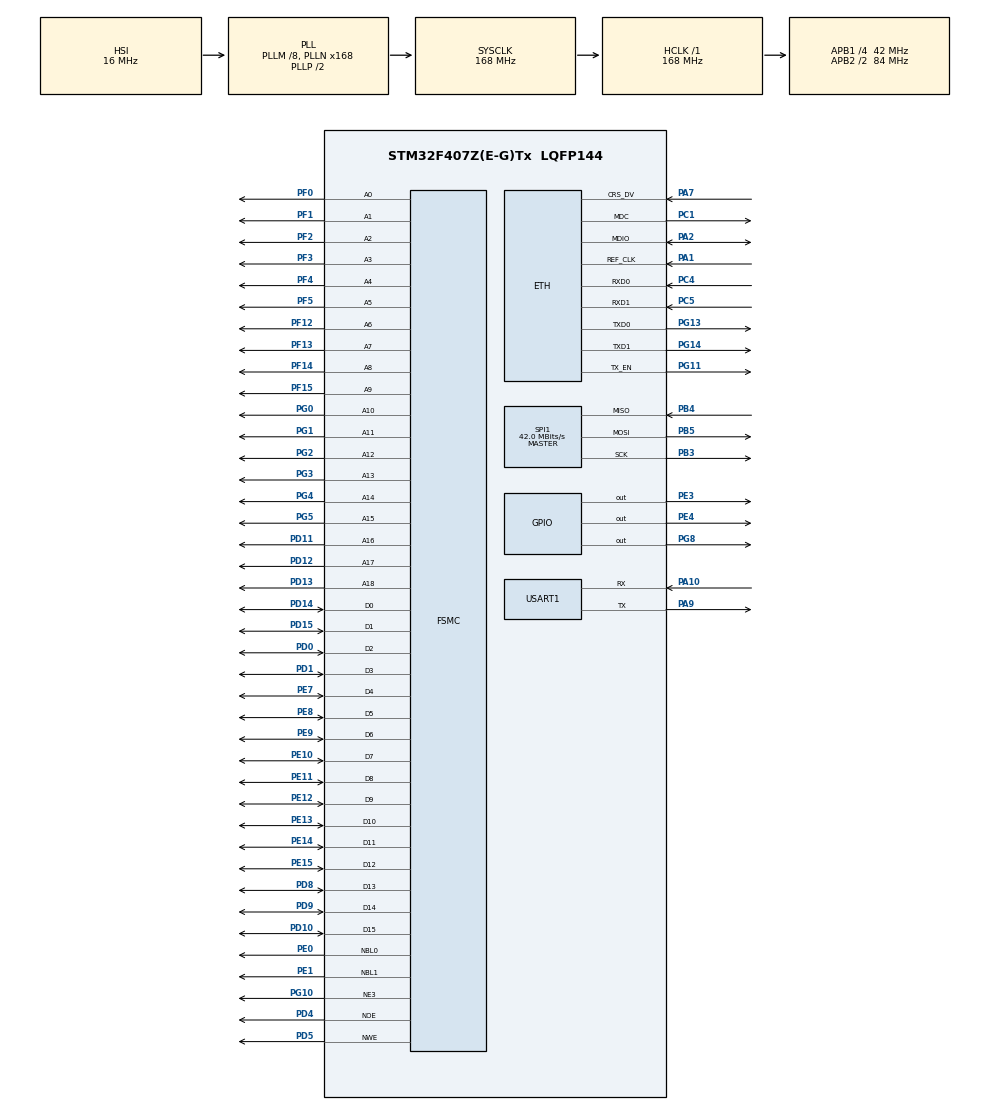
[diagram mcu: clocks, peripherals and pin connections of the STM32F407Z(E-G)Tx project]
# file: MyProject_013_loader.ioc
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ETH.AutoNegotiation=ETH_AUTONEGOTIATION_DISABLE
ETH.MediaInterface=ETH_MEDIA_INTERFACE_RMII
ETH.PHY_Name_RMII=DP83848_PHY_ADDRESS
ETH.RxMode=ETH_RXINTERRUPT_MODE
ETH.Speed=ETH_SPEED_10M
FREERTOS.INCLUDE_eTaskGetState=1
FREERTOS.Tasks01=defaultTask,0,1024,StartDefaultTask,Default,NULL,Dynamic,NULL,NULL;myTask02,-3,1024,StartTask02,Default,NULL,Dynamic,NULL,NULL;myTask03,-3,1024,StartTask03,Default,NULL,Dynamic,NULL,NULL
FREERTOS.configCHECK_FOR_STACK_OVERFLOW=2
FREERTOS.configTOTAL_HEAP_SIZE=51200
FREERTOS.configUSE_STATS_FORMATTING_FUNCTIONS=1
FREERTOS.configUSE_TRACE_FACILITY=1
FSMC.WriteOperation1=FSMC_WRITE_OPERATION_ENABLE
LWIP.Version=v2.1.2_Cube
Mcu.Family=STM32F4
Mcu.Name=STM32F407Z(E-G)Tx
Mcu.Package=LQFP144
NVIC.ETH_IRQn=true\:5\:0\:false\:false\:true\:true\:true\:true
NVIC.PriorityGroup=NVIC_PRIORITYGROUP_4
NVIC.SPI1_IRQn=true\:5\:0\:false\:false\:true\:true\:true\:true
NVIC.TIM1_BRK_TIM9_IRQn=true\:5\:0\:false\:false\:true\:true\:true\:true
NVIC.TIM1_UP_TIM10_IRQn=true\:15\:0\:false\:false\:true\:false\:false\:true
NVIC.TIM3_IRQn=true\:5\:0\:false\:false\:true\:true\:true\:true
NVIC.TimeBase=TIM1_UP_TIM10_IRQn
NVIC.TimeBaseIP=TIM1
NVIC.USART1_IRQn=true\:5\:0\:false\:false\:true\:true\:true\:true
PA1.Mode=RMII
PA1.Signal=ETH_REF_CLK
PA10.Mode=Asynchronous
PA10.Signal=USART1_RX
PA13.Mode=Serial_Wire
PA13.Signal=SYS_JTMS-SWDIO
PA14.Mode=Serial_Wire
PA14.Signal=SYS_JTCK-SWCLK
PA2.Mode=RMII
PA2.Signal=ETH_MDIO
PA7.Mode=RMII
PA7.Signal=ETH_CRS_DV
PA9.Mode=Asynchronous
PA9.Signal=USART1_TX
PB3.Mode=Full_Duplex_Master
PB3.Signal=SPI1_SCK
PB4.Mode=Full_Duplex_Master
PB4.Signal=SPI1_MISO
PB5.Mode=Full_Duplex_Master
PB5.Signal=SPI1_MOSI
PC1.Mode=RMII
PC1.Signal=ETH_MDC
PC4.Mode=RMII
PC4.Signal=ETH_RXD0
PC5.Mode=RMII
PC5.Signal=ETH_RXD1
PD0.Signal=FSMC_D2_DA2
PD1.Signal=FSMC_D3_DA3
PD10.Signal=FSMC_D15_DA15
PD11.Signal=FSMC_A16_CLE
PD12.Signal=FSMC_A17_ALE
PD13.Signal=FSMC_A18
PD14.Signal=FSMC_D0_DA0
PD15.Signal=FSMC_D1_DA1
PD4.Signal=FSMC_NOE
PD5.Signal=FSMC_NWE
PD8.Signal=FSMC_D13_DA13
PD9.Signal=FSMC_D14_DA14
PE0.Signal=FSMC_NBL0
PE1.Signal=FSMC_NBL1
PE10.Signal=FSMC_D7_DA7
PE11.Signal=FSMC_D8_DA8
PE12.Signal=FSMC_D9_DA9
PE13.Signal=FSMC_D10_DA10
PE14.Signal=FSMC_D11_DA11
PE15.Signal=FSMC_D12_DA12
PE3.Signal=GPIO_Output
PE4.Signal=GPIO_Output
PE7.Signal=FSMC_D4_DA4
PE8.Signal=FSMC_D5_DA5
PE9.Signal=FSMC_D6_DA6
PF0.Signal=FSMC_A0
PF1.Signal=FSMC_A1
PF12.Signal=FSMC_A6
PF13.Signal=FSMC_A7
PF14.Signal=FSMC_A8
PF15.Signal=FSMC_A9
PF2.Signal=FSMC_A2
PF3.Signal=FSMC_A3
PF4.Signal=FSMC_A4
PF5.Signal=FSMC_A5
PG0.Signal=FSMC_A10
PG1.Signal=FSMC_A11
PG10.Mode=NorPsramChipSelect3_1
PG10.Signal=FSMC_NE3
PG11.Mode=RMII
PG11.Signal=ETH_TX_EN
PG13.Mode=RMII
PG13.Signal=ETH_TXD0
PG14.Mode=RMII
PG14.Signal=ETH_TXD1
PG2.Signal=FSMC_A12
PG3.Signal=FSMC_A13
PG4.Signal=FSMC_A14
PG5.Signal=FSMC_A15
PG8.GPIO_PuPd=GPIO_PULLUP
PG8.PinState=GPIO_PIN_RESET
PG8.Signal=GPIO_Output
PH0-OSC_IN.Mode=HSE-External-Oscillator
PH0-OSC_IN.Signal=RCC_OSC_IN
PH1-OSC_OUT.Mode=HSE-External-Oscillator
PH1-OSC_OUT.Signal=RCC_OSC_OUT
ProjectManager.HeapSize=0x200
ProjectManager.StackSize=0x400
ProjectManager.TargetToolchain=STM32CubeIDE
RCC.48MHZClocksFreq_Value=84000000
RCC.AHBFreq_Value=168000000
RCC.APB1CLKDivider=RCC_HCLK_DIV4
RCC.APB1Freq_Value=42000000
RCC.APB1TimFreq_Value=84000000
RCC.APB2CLKDivider=RCC_HCLK_DIV2
RCC.APB2Freq_Value=84000000
RCC.APB2TimFreq_Value=168000000
RCC.CortexFreq_Value=168000000
RCC.HCLKFreq_Value=168000000
RCC.HSE_VALUE=8000000
RCC.HSI_VALUE=16000000
RCC.LSE_VALUE=32768
RCC.PLLM=8
RCC.PLLN=168
RCC.SYSCLKFreq_VALUE=168000000
RCC.SYSCLKSource=RCC_SYSCLKSOURCE_PLLCLK
RCC.VCOOutputFreq_Value=336000000
SH.FSMC_A0.0=FSMC_A0,19b-a1
SH.FSMC_A1.0=FSMC_A1,19b-a1
SH.FSMC_A10.0=FSMC_A10,19b-a1
SH.FSMC_A11.0=FSMC_A11,19b-a1
SH.FSMC_A12.0=FSMC_A12,19b-a1
SH.FSMC_A13.0=FSMC_A13,19b-a1
SH.FSMC_A14.0=FSMC_A14,19b-a1
SH.FSMC_A15.0=FSMC_A15,19b-a1
SH.FSMC_A16_CLE.0=FSMC_A16,19b-a1
SH.FSMC_A17_ALE.0=FSMC_A17,19b-a1
SH.FSMC_A18.0=FSMC_A18,19b-a1
SH.FSMC_A2.0=FSMC_A2,19b-a1
SH.FSMC_A3.0=FSMC_A3,19b-a1
SH.FSMC_A4.0=FSMC_A4,19b-a1
SH.FSMC_A5.0=FSMC_A5,19b-a1
SH.FSMC_A6.0=FSMC_A6,19b-a1
SH.FSMC_A7.0=FSMC_A7,19b-a1
SH.FSMC_A8.0=FSMC_A8,19b-a1
SH.FSMC_A9.0=FSMC_A9,19b-a1
SH.FSMC_D0_DA0.0=FSMC_D0,16b-d1
SH.FSMC_D10_DA10.0=FSMC_D10,16b-d1
SH.FSMC_D11_DA11.0=FSMC_D11,16b-d1
SH.FSMC_D12_DA12.0=FSMC_D12,16b-d1
SH.FSMC_D13_DA13.0=FSMC_D13,16b-d1
SH.FSMC_D14_DA14.0=FSMC_D14,16b-d1
SH.FSMC_D15_DA15.0=FSMC_D15,16b-d1
SH.FSMC_D1_DA1.0=FSMC_D1,16b-d1
SH.FSMC_D2_DA2.0=FSMC_D2,16b-d1
SH.FSMC_D3_DA3.0=FSMC_D3,16b-d1
SH.FSMC_D4_DA4.0=FSMC_D4,16b-d1
SH.FSMC_D5_DA5.0=FSMC_D5,16b-d1
SH.FSMC_D6_DA6.0=FSMC_D6,16b-d1
SH.FSMC_D7_DA7.0=FSMC_D7,16b-d1
SH.FSMC_D8_DA8.0=FSMC_D8,16b-d1
SH.FSMC_D9_DA9.0=FSMC_D9,16b-d1
SH.FSMC_NBL0.0=FSMC_NBL0,2ByteEnable1
SH.FSMC_NBL1.0=FSMC_NBL1,2ByteEnable1
SH.FSMC_NOE.0=FSMC_NOE,Sram1
SH.FSMC_NWE.0=FSMC_NWE,Sram1
SPI1.BaudRatePrescaler=SPI_BAUDRATEPRESCALER_2
SPI1.CalculateBaudRate=42.0 MBits/s
SPI1.Direction=SPI_DIRECTION_2LINES
SPI1.Mode=SPI_MODE_MASTER
SPI1.VirtualType=VM_MASTER
TIM3.AutoReloadPreload=TIM_AUTORELOAD_PRELOAD_ENABLE
TIM3.Period=50-1
TIM3.Prescaler=84-1
TIM8.AutoReloadPreload=TIM_AUTORELOAD_PRELOAD_ENABLE
TIM8.Period=50-1
TIM8.Prescaler=84-1
TIM9.AutoReloadPreload=TIM_AUTORELOAD_PRELOAD_ENABLE
TIM9.Period=50-1
TIM9.Prescaler=84-1
USART1.VirtualMode=VM_ASYNC
VP_FREERTOS_VS_CMSIS_V1.Mode=CMSIS_V1
VP_LWIP_VS_Enabled.Mode=Enabled
VP_SYS_VS_tim1.Mode=TIM1
VP_TIM3_VS_ClockSourceINT.Mode=Internal
VP_TIM8_VS_ClockSourceINT.Mode=Internal
VP_TIM9_VS_ClockSourceINT.Mode=Internal
board=custom

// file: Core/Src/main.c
/* USER CODE BEGIN Header */
/**
  ******************************************************************************
  * @file           : main.c
  * @brief          : Main program body
  ******************************************************************************
  * @attention
  *
  * <h2><center>&copy; Copyright (c) 2022 STMicroelectronics.
  * All rights reserved.</center></h2>
  *
  * This software component is licensed by ST under BSD 3-Clause license,
  * the "License"; You may not use this file except in compliance with the
  * License. You may obtain a copy of the License at:
  *                        opensource.org/licenses/BSD-3-Clause
  *
  ******************************************************************************
  */
/* USER CODE END Header */
#include "main.h"
#include "cmsis_os.h"
#include "lwip.h"
#include "spi.h"
#include "tim.h"
#include "usart.h"
#include "gpio.h"
#include "fsmc.h"

/* USER CODE BEGIN Includes */
#include "rf433.h"

#include "sys_type.h"

#include "iap.h"
#include "delay.h"
#include "led.h"
#include "stmflash.h"

/* USER CODE END Includes */

void SystemClock_Config(void);
void MX_FREERTOS_Init(void);
/* USER CODE BEGIN PFP */

SRAM BYTE TCP_RecvBuf[2048] = {0};

SRAM char arr[2048] = {0};

/* USER CODE END PFP */

/* USER CODE BEGIN 0 */

#ifdef __GNUC__
//  /* With GCC/RAISONANCE, small printf (option LD Linker->Libraries->Small printf *****/
// /*****    set to 'Yes') calls __io_putchar() */

#define PUTCHAR_PROTOTYPE int __io_putchar(int ch)
#else
#define PUTCHAR_PROTOTYPE int fputc(int ch, FILE *f)
#endif /* __GNUC__ */

/**
  * @brief  Retargets the C library printf function to the USART.
  * @param  None
  * @retval None
  */

PUTCHAR_PROTOTYPE
{
  HAL_UART_Transmit(&huart1,(uint8_t *)&ch,1,0xFFFF);
  return ch;
}
//作�?�：天上的星�?????????????260
//链接：https://www.jianshu.com/p/b102eccbf65e
//来源：简�?????????????
//著作权归作�?�所有�?�商业转载请联系作�?�获得授权，非商业转载请注明出处�?????????????

void Check_update()
{
	  uint32_t cnt = 0;
	  while(cnt<20)
	  {
		  cnt++;
		  HAL_Delay(500);
		  printf("HAL_Delay cnt  = %d\n\n", cnt);

		PrintFlashTest(1024,FLASH_APP1_ADDR);

		if(((*(vu32*)(FLASH_APP1_ADDR+4))&0xFF000000)==0x08000000)//判断是否�???0X08XXXXXX.
		{
			iap_load_app(FLASH_APP1_ADDR);//执行FLASH APP代码
		}else
		{
	//						printf("非FLASH应用程序,无法执行!\r\n");
	//						LCD_ShowString(30,210,200,16,16,"Illegal FLASH APP!");
			printf("--FLASH_APP1_ADDR  : 0x%x\r\n", ((*(vu32*)(FLASH_APP1_ADDR))));
			printf("--FLASH_APP1_ADDR+4: 0x%x\r\n", ((*(vu32*)(FLASH_APP1_ADDR+4))));
			printf("--can not execute app, it is not flash app\r\n");
		}

	  }
}

/* USER CODE END 0 */

int main(void)
{

  /* MCU Configuration--------------------------------------------------------*/

  /* Reset of all peripherals, Initializes the Flash interface and the Systick. */
  HAL_Init();

  /* Configure the system clock */
  SystemClock_Config();

  /* USER CODE BEGIN SysInit */
  delay_init(168);               	//初始化延时函数

  /* USER CODE END SysInit */

  /* Initialize all configured peripherals */
  MX_GPIO_Init();
  MX_USART1_UART_Init();
  MX_TIM3_Init();
  MX_TIM9_Init();
  MX_TIM8_Init();
  MX_FSMC_Init();
  MX_SPI1_Init();
  /* USER CODE BEGIN 2 */

  printf("MX_USART1_UART_Init finish ... 0312\n\n");

  printf("check update flag ... 0315\n\n");

  Check_update();

  /* USER CODE END 2 */

  /* Call init function for freertos objects (in freertos.c) */
  MX_FREERTOS_Init();
  /* Start scheduler */
  osKernelStart();

  /* We should never get here as control is now taken by the scheduler */
  /* Infinite loop */
  while (1)
  {

  }
}

void SystemClock_Config(void)
{
  RCC_OscInitTypeDef RCC_OscInitStruct = {0};
  RCC_ClkInitTypeDef RCC_ClkInitStruct = {0};

  /** Configure the main internal regulator output voltage
  */
  __HAL_RCC_PWR_CLK_ENABLE();
  __HAL_PWR_VOLTAGESCALING_CONFIG(PWR_REGULATOR_VOLTAGE_SCALE1);
  /** Initializes the RCC Oscillators according to the specified parameters
  * in the RCC_OscInitTypeDef structure.
  */
  RCC_OscInitStruct.OscillatorType = RCC_OSCILLATORTYPE_HSI;
  RCC_OscInitStruct.HSIState = RCC_HSI_ON;
  RCC_OscInitStruct.HSICalibrationValue = RCC_HSICALIBRATION_DEFAULT;
  RCC_OscInitStruct.PLL.PLLState = RCC_PLL_ON;
  RCC_OscInitStruct.PLL.PLLSource = RCC_PLLSOURCE_HSI;
  RCC_OscInitStruct.PLL.PLLM = 8;
  RCC_OscInitStruct.PLL.PLLN = 168;
  RCC_OscInitStruct.PLL.PLLP = RCC_PLLP_DIV2;
  RCC_OscInitStruct.PLL.PLLQ = 4;
  if (HAL_RCC_OscConfig(&RCC_OscInitStruct) != HAL_OK)
  {
    Error_Handler();
  }
  /** Initializes the CPU, AHB and APB buses clocks
  */
  RCC_ClkInitStruct.ClockType = RCC_CLOCKTYPE_HCLK|RCC_CLOCKTYPE_SYSCLK
                              |RCC_CLOCKTYPE_PCLK1|RCC_CLOCKTYPE_PCLK2;
  RCC_ClkInitStruct.SYSCLKSource = RCC_SYSCLKSOURCE_PLLCLK;
  RCC_ClkInitStruct.AHBCLKDivider = RCC_SYSCLK_DIV1;
  RCC_ClkInitStruct.APB1CLKDivider = RCC_HCLK_DIV4;
  RCC_ClkInitStruct.APB2CLKDivider = RCC_HCLK_DIV2;

  if (HAL_RCC_ClockConfig(&RCC_ClkInitStruct, FLASH_LATENCY_5) != HAL_OK)
  {
    Error_Handler();
  }
}

/* USER CODE BEGIN 4 */

int tim3_cnt = 0;

/* USER CODE END 4 */

void HAL_TIM_PeriodElapsedCallback(TIM_HandleTypeDef *htim)
{
  if (htim->Instance == TIM1) {
    HAL_IncTick();
  }
  /* USER CODE BEGIN Callback 1 */
/***
  if (htim->Instance == TIM3) {     //2022.11.18

	  tim3_cnt++;
	  if(tim3_cnt % 10000 == 0)
	  {
		  printf("TIM3 time up ... %d\n",tim3_cnt);
	  }

	  soft_count();
  }

 ***/

  if (htim->Instance == TIM9) {     //2022.11.18

	  tim3_cnt++;
	  if(tim3_cnt % 10000 == 0)
	  {
		  //printf("TIM9 time up ... %d\n",tim3_cnt);
	  }

	  soft_count();
  }

/***
  if (htim->Instance == TIM8) {     //2022.11.18

	  tim3_cnt++;
	  if(tim3_cnt % 10000 == 0)
	  {
		  printf("TIM8 time up ... %d\n",tim3_cnt);
	  }

	  soft_count();
  }
***/

  /* USER CODE END Callback 1 */
}

void Error_Handler(void)
{
  __disable_irq();
  while (1)
  {
  }
}

/************************ (C) COPYRIGHT STMicroelectronics *****END OF FILE****/

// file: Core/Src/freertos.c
/* USER CODE BEGIN Header */
/**
  ******************************************************************************
  * File Name          : freertos.c
  * Description        : Code for freertos applications
  ******************************************************************************
  * @attention
  *
  * <h2><center>&copy; Copyright (c) 2022 STMicroelectronics.
  * All rights reserved.</center></h2>
  *
  * This software component is licensed by ST under Ultimate Liberty license
  * SLA0044, the "License"; You may not use this file except in compliance with
  * the License. You may obtain a copy of the License at:
  *                             www.st.com/SLA0044
  *
  ******************************************************************************
  */
/* USER CODE END Header */

#include "FreeRTOS.h"
#include "task.h"
#include "main.h"
#include "cmsis_os.h"

/* USER CODE BEGIN Includes */

#include "usart.h"
#include <stdio.h>
#include <string.h>

#include "lwip.h"
#include "netif.h"
#include "lwipopts.h"
#include "lwip/api.h"

#include "FreeRTOSConfig.h"

#include "tcp_client.h"
#include "tcp_process.h"

#include "iap.h"
#include "delay.h"
#include "led.h"

#include "stmflash.h"

/* USER CODE END Includes */

/* USER CODE BEGIN PTD */

const unsigned char CCDQUERRY_TCP_cmd[] = "{\"body\": {\"netType\": \"TCP\"},\"cmd\": \"CCDBOOST_COMMAND_QUERRYCCDSERVICE\",\"sessionId\": \"Amx2Test_SessionId\",\"clientId\": \"Amx2Test_ClientId\",\"type\": \"BT_REQUEST\"}";

/* USER CODE END PTD */

osThreadId defaultTaskHandle;
osThreadId myTask02Handle;
osThreadId myTask03Handle;

/* USER CODE BEGIN FunctionPrototypes */

osThreadId uart1TaskHandle;
void StartUart1Task(void const * argument);
void StartUart1RecvTask(void const * argument);

osThreadId TCPClientTaskHandle;
void StartTCPClientTask(void const * argument);

osThreadId  tcp_clientHandle;
//void tcp_clientTask(void const * argument);

void print_Task(void *parg);

/* USER CODE END FunctionPrototypes */

void StartDefaultTask(void const * argument);
void StartTask02(void const * argument);
void StartTask03(void const * argument);

extern void MX_LWIP_Init(void);
void MX_FREERTOS_Init(void); /* (MISRA C 2004 rule 8.1) */

/* GetIdleTaskMemory prototype (linked to static allocation support) */
void vApplicationGetIdleTaskMemory( StaticTask_t **ppxIdleTaskTCBBuffer, StackType_t **ppxIdleTaskStackBuffer, uint32_t *pulIdleTaskStackSize );

/* Hook prototypes */
void vApplicationStackOverflowHook(xTaskHandle xTask, signed char *pcTaskName);

/* USER CODE BEGIN 4 */
__weak void vApplicationStackOverflowHook(xTaskHandle xTask, signed char *pcTaskName)
{
   /* Run time stack overflow checking is performed if
   configCHECK_FOR_STACK_OVERFLOW is defined to 1 or 2. This hook function is
   called if a stack overflow is detected. */
}
/* USER CODE END 4 */

/* USER CODE BEGIN GET_IDLE_TASK_MEMORY */
static StaticTask_t xIdleTaskTCBBuffer;
static StackType_t xIdleStack[configMINIMAL_STACK_SIZE];

void vApplicationGetIdleTaskMemory( StaticTask_t **ppxIdleTaskTCBBuffer, StackType_t **ppxIdleTaskStackBuffer, uint32_t *pulIdleTaskStackSize )
{
  *ppxIdleTaskTCBBuffer = &xIdleTaskTCBBuffer;
  *ppxIdleTaskStackBuffer = &xIdleStack[0];
  *pulIdleTaskStackSize = configMINIMAL_STACK_SIZE;
  /* place for user code */
}
/* USER CODE END GET_IDLE_TASK_MEMORY */

void MX_FREERTOS_Init(void) {

  /* Create the thread(s) */
  /* definition and creation of defaultTask */
  osThreadDef(defaultTask, StartDefaultTask, osPriorityNormal, 0, 1024);
  defaultTaskHandle = osThreadCreate(osThread(defaultTask), NULL);

  /* definition and creation of myTask02 */
//  osThreadDef(myTask02, StartTask02, osPriorityIdle, 0, 1024);
//  myTask02Handle = osThreadCreate(osThread(myTask02), NULL);

  /* definition and creation of myTask03 */
//  osThreadDef(myTask03, StartTask03, osPriorityIdle, 0, 1024);
//  myTask03Handle = osThreadCreate(osThread(myTask03), NULL);

  /* USER CODE BEGIN RTOS_THREADS */
  /* add threads, ... */

  osThreadDef(uart1Task, StartUart1RecvTask, osPriorityAboveNormal, 0, 1024);
  uart1TaskHandle = osThreadCreate(osThread(uart1Task), NULL);
  //StartUart1RecvTask  StartUart1Task

  //osThreadDef(tcp_client, tcp_clientTask, osPriorityAboveNormal, 0, 1024);
  //tcp_clientHandle = osThreadCreate(osThread(tcp_client), NULL);
  //xTaskCreate(tcp_client, "tcp_client", 512, NULL, 3, NULL); // 创建TCP客户端任�???????

  printf("MX_FREERTOS_Init init ...003 ...\n\n");

  //xTaskCreate(tcp_client, "tcp_client", 4096, NULL, osPriorityNormal, NULL); // 创建TCP客户端任�???????   //3

  printf("MX_FREERTOS_Init init ...004 ...\n\n");

  //xTaskCreate(print_Task, "print_Task", 512, NULL, 2, NULL); // 创建TCP客户端任�???????

  printf("MX_FREERTOS_Init init ...009 ...\n\n");

  /* USER CODE END RTOS_THREADS */

}

void StartDefaultTask(void const * argument)
{
  /* init code for LWIP */
  MX_LWIP_Init();
  /* USER CODE BEGIN StartDefaultTask */

  /* Infinite loop */
  for(;;)
  {
//	  printf("StartDefaultTask loop ......  this is loader\n\n");
//
//	  HAL_GPIO_WritePin(GPIOE, GPIO_PIN_3|GPIO_PIN_4, GPIO_PIN_RESET);
//	  osDelay(500);
//	  HAL_GPIO_WritePin(GPIOE, GPIO_PIN_3|GPIO_PIN_4, GPIO_PIN_SET);
//      osDelay(500);

  }
  /* USER CODE END StartDefaultTask */
}

/* USER CODE BEGIN Header_StartTask02 */
/**
* @brief Function implementing the myTask02 thread.
* @param argument: Not used
* @retval None
*/

__lwip_dev lwipdev;						//lwip鎺у埗缁撴瀯锟�??????????????

uint8_t tcp_flag = 0;

/* USER CODE END Header_StartTask02 */
void StartTask02(void const * argument)
{
  /* USER CODE BEGIN StartTask02 */

	uint32_t ip=0, netmask=0, gw=0 ;
	unsigned int remain_size = 0;

	int printfstate_on = 0;

  /* Infinite loop */
  for(;;)
  {
	  /**
	   * https://blog.csdn.net/weixin_42328389/article/details/121153037
	   ****/
	    if(printfstate_on){
	      //printfstate_on =0;
	      uint8_t mytaskstatebuffer[500];
	      printf("==================================\n\n");
	      //printf("任务�??????????          任务状�??    优先�??????????     剩余�??????????   任务序号\r\n");  osPriorityAboveNormal
	      printf("TaskName    TaskState  Priority  RemainStask  TaskNumber\n\n");
	      osThreadList((uint8_t *)&mytaskstatebuffer);
	      printf("%s\n\n",mytaskstatebuffer);
	    }

	    if(printfstate_on)   //LWIP_DHCP
	     {
	    		  //printf("ipaddr.addr: %ld\n",ipaddr.addr);   //ipaddr.addr = 0;
	    		  //printf("netmask.addr: %ld\n",netmask.addr);   //netmask.addr = 0;
	    		  //printf("gw.addr: %ld\n\n\n",gw.addr);   //gw.addr = 0;

	    		  ip = gnetif.ip_addr.addr;
	    		  if(tcp_flag == 0 && ip != 0)
	    		  {
	    			  tcp_flag=1;
	    			  //xTaskCreate(tcp_client, "tcp_client", 4096, NULL, osPriorityNormal, NULL); // 创建TCP客户端任�???????   //3
	    			  tcp_client_init();

	    			  printf("tcp_client create success ...\n\n");
	    		  }

	    		  printf("gnetif.ip_addr.addr: %ld\n",gnetif.ip_addr.addr);
	    		  lwipdev.ip[3]=(uint8_t)(ip>>24);
	    	      lwipdev.ip[2]=(uint8_t)(ip>>16);
	    		  lwipdev.ip[1]=(uint8_t)(ip>>8);
	    		  lwipdev.ip[0]=(uint8_t)(ip);
	    		  printf("DHCP:IP.......%d.%d.%d.%d\r\n",lwipdev.ip[0],lwipdev.ip[1],lwipdev.ip[2],lwipdev.ip[3]);

	    		  netmask = gnetif.netmask.addr;
	    		  lwipdev.netmask[3]=(uint8_t)(netmask>>24);
	    		  lwipdev.netmask[2]=(uint8_t)(netmask>>16);
	    		  lwipdev.netmask[1]=(uint8_t)(netmask>>8);
	    		  lwipdev.netmask[0]=(uint8_t)(netmask);
	    		  printf("DHCP:Netmask......%d.%d.%d.%d\r\n",lwipdev.netmask[0],lwipdev.netmask[1],lwipdev.netmask[2],lwipdev.netmask[3]);

	    		  gw = gnetif.gw.addr;
	    		  lwipdev.gateway[3]=(uint8_t)(gw>>24);
	    		  lwipdev.gateway[2]=(uint8_t)(gw>>16);
	    		  lwipdev.gateway[1]=(uint8_t)(gw>>8);
	    		  lwipdev.gateway[0]=(uint8_t)(gw);
	    		  printf("DHCP:gateway.....%d.%d.%d.%d\r\n",lwipdev.gateway[0],lwipdev.gateway[1],lwipdev.gateway[2],lwipdev.gateway[3]);
	    	  }

	    	  remain_size = xPortGetFreeHeapSize();
	    	  printf("remain heap size:%d\n\n", remain_size);

    osDelay(5000);
  }
  /* USER CODE END StartTask02 */
}

void StartTask03(void const * argument)
{
  /* USER CODE BEGIN StartTask03 */
  /* Infinite loop */
	uint8_t tcpState = 0;

	/***
	STA_NET_BEGIN = 0,
	STA_NET_NO_CONNECT = 1,//网络未连�???????
	STA_NET_CONNECT = 2,//网络连接，PORT CCD服务未连�???????
	STA_CCDPORT = 3,//CCD服务连接
	STA_CCDPORT_CONNECT = 4,//CCD服务连接
	STA_LOGINPORT = 5,//CCD服务连接
	STA_LOGINPORT_CONNECT = 6,//CCD服务连接
	STA_LOGIN_IN = 7,//已登�???????
	STA_LOGIN_OUT = 8//已登�???????
	****/

	tcpState = STA_TCP_NO_CONNECT;

    for(;;)
    {
		switch(tcpState)
		{
			case STA_TCP_NO_CONNECT:
				//CCDQUERRY_TCP_cmd
				//tcp_client_write(CCDQUERRY_TCP_cmd, sizeof(CCDQUERRY_TCP_cmd));
				printf("---STA_NET_NO_CONNECT...\n\n");
				//if(connect_flag == pdTRUE)
				{
					//packVwasCmd(CCDQUERRY_TCP_cmd);
					tcpState = STA_TCP_CONNECT;
				}
				break;

			case STA_TCP_CONNECT:
				printf("---tcpState = %d, STA_TCP_CONNECT...\n\n", tcpState);

				break;
			case STA_CCDPORT:
				printf("---STA_NET_CONNECT...\n\n");
				break;

			case STA_CCDPORT_CONNECT:
			//case MODESCREEN:
				STA_LOGINPORT;
				break;
			default:
				//refreshSTATUSMONITORING_2();
				break;
		}

	  osDelay(3000);
  }
  /* USER CODE END StartTask03 */
}

/* USER CODE BEGIN Application */

/* USER CODE BEGIN 0 */
uint32_t WriteFlashAA = 0xa0a0a0a0;
uint32_t WriteFlashRR = 0x0;
uint32_t WriteFlashData[3] = {0x11111111,0x22222222,0x33333333};//数据
uint32_t addr = 0x08080000;
/* USER CODE END 0 */

void StartUart1RecvTask(void const * argument)
{
	uint16_t t = 0;
	uint32_t oldcount=0;	//老的串口接收数据�???
	uint32_t applenth=0;	//接收到的app代码长度

	printf("-----StartUart1Task--- 001\n");
	delay_ms(1000);
	printf("-----StartUart1Task--- 002\n");

//	for(int i=0; i < 120*1024; i++)
//		USART_REC_BUF[i] = i;
//
//	for(int i=0; i < 120*1024; i++)
//		printf("%d ", USART_REC_BUF[i]);
//
//	printf("\n\n-----StartUart1Task--- 003\n");

	/*flash test*/

//	printf("Test_Write begin \r\n");
//	//测试写入
//	Test_Write(addr,WriteFlashAA);
//	printf("STMFLASH_Read finish \r\n");
//	STMFLASH_Read(addr,&WriteFlashRR,1);
//	printf("STMFLASH_Read WriteFlashRR = 0x%x \r\n", WriteFlashRR);
//	printf("PrintFlashTest begin \r\n");
//	PrintFlashTest(3,addr);

//	PrintFlashTest(100,addr);

//	printf("re write: \n");
//	for(int i = 0; i < 100;i++)
//		Test_Write(addr+i*4,i+2);
//
//	PrintFlashTest(100,addr);

	printf("-----StartUart1Task--- 003, this is loader\n");
//	HAL_Delay(5000);

	/***********/

	for(;;)
	{
//	  if(uart1_it > 0)
//	  {
//		  printf("-----uart1 receive %d data:\n", uart1_it);
//		  for(int i = 0; i < uart1_it; i++ )
//		  printf("%c", Uart1RxBuf[i]);
//		  uart1_it=0;
//	  }

		if(USART_RX_CNT)
		{
			//printf("USART_RX_CNT = %d, oldcount = %d\n\n", USART_RX_CNT, oldcount);
			if(oldcount==USART_RX_CNT)//新周期内,没有收到任何数据,认为本次数据接收完成.
			{
				applenth = USART_RX_CNT;
				oldcount = 0;
				USART_RX_CNT = 0;
//				printf("用户程序接收完成!\r\n");
//				printf("代码长度:%dBytes\r\n",applenth);
				printf("app receive finish!\r\n");
				printf("app length:%d Bytes\r\n",applenth);

//				printf("USART_RX_BUF:\r\n");
//				for(int i = 0; i < 8; i++)
//					printf("0x%x ", USART_REC_BUF[i]);
//				printf("\n\n");
//				printf("flash data before:\n");
//				PrintFlashTest(4,FLASH_APP1_ADDR);

				// recv finish, and write app data to flash
//				printf("�???始更新固�???...\r\n");
//				LCD_ShowString(30,210,200,16,16,"Copying APP2FLASH...");
				printf("begin update app\r\n");
//				if(((*(vu32*)(0X20001000+4))&0xFF000000)==0x08000000)//判断是否�???0X08XXXXXX.
				printf("ram addr data:0x%x\r\n", ((*(vu32*)(0x68000000))) );

				for(int i= 0; i < 4; i++)
				{
					printf("i = 0x%x, ramdata =  0x%x\r\n", i, ((*(vu32*)(0x68000000+4*i))));
				}

				printf("iap_write_appbin begin ...\r\n");
				if(((*(vu32*)(0x68000000+4))&0xFF000000)==0x08000000)//判断是否�???0X08XXXXXX.
				{
					iap_write_appbin(FLASH_APP1_ADDR, USART_REC_BUF, applenth);//更新FLASH代码   applenth
//					uint32_t addr_offset = 0;
//					for(uint32_t i = 0; i< applenth/2048; i++)
//					{
//						addr_offset += i*2048;
//						iap_write_appbin(FLASH_APP1_ADDR+addr_offset, &USART_REC_BUF[addr_offset], 2048);//更新FLASH代码   applenth
//					}
//					addr_offset += 2048;
//					iap_write_appbin(FLASH_APP1_ADDR+addr_offset, &USART_REC_BUF[addr_offset], applenth%2048);//更新FLASH代码   applenth
//					LCD_ShowString(30,210,200,16,16,"Copy APP Successed!!");
//					printf("固件更新完成!\r\n");
					printf("iap_write_appbin finish\r\n");

//					for(int i =0 ;i <8; i++)
//						printf("0x%x ", USART_REC_BUF[i]);
//					printf("\n\n\n");
//					PrintFlashTest(100,FLASH_APP1_ADDR);
//					delay_ms(500);

					for(int i= 0; i < applenth/4; i++)
					{
						printf("ADDR = 0x%x, data =  0x%x\r\n", FLASH_APP1_ADDR+4*i, ((*(vu32*)(FLASH_APP1_ADDR+4*i))));
					}

					//start run app
//					printf("�???始执行FLASH用户代码!!\r\n");
					printf("iap_load_app begin \r\n");

					printf("FLASH_APP1_ADDR  : 0x%x\r\n", ((*(vu32*)(FLASH_APP1_ADDR))));
					printf("FLASH_APP1_ADDR+4: 0x%x\r\n", ((*(vu32*)(FLASH_APP1_ADDR+4))));

					if(((*(vu32*)(FLASH_APP1_ADDR+4))&0xFF000000)==0x08000000)//判断是否�???0X08XXXXXX.
					{
						iap_load_app(FLASH_APP1_ADDR);//执行FLASH APP代码
					}else
					{
//						printf("非FLASH应用程序,无法执行!\r\n");
//						LCD_ShowString(30,210,200,16,16,"Illegal FLASH APP!");
						printf("--FLASH_APP1_ADDR  : 0x%x\r\n", ((*(vu32*)(FLASH_APP1_ADDR))));
						printf("--FLASH_APP1_ADDR+4: 0x%x\r\n", ((*(vu32*)(FLASH_APP1_ADDR+4))));
						printf("--can not execute app, it is not flash app\r\n");
					}

				}else
				{
//					LCD_ShowString(30,210,200,16,16,"Illegal FLASH APP!  ");
//					printf("非FLASH应用程序!\r\n");
					printf("can not update app, it is not flash app\r\n");
				}

			}else  oldcount = USART_RX_CNT;
		}

		t++;
//		osDelay(10);
		delay_ms(20);
		if(t==30)
		{
			LED0=!LED0;
			t=0;
		}

	}
}

int DHCP_flag = 1;

void StartUart1Task(void const * argument)
{

	printf("-----StartUart1Task--- 001\n");

	for(;;)
	{
	  if(uart1_it > 0)
	  {
		  printf("-----uart1 receive %d data:\n", uart1_it);
		  for(int i = 0; i < uart1_it; i++ )
		  printf("%c", Uart1RxBuf[i]);

		  if(Uart1RxBuf[0] == 's')
		  {
			  // vTaskDelete(LED1Task_Handler);
			  //vTaskSuspend(myTask02Handle);
			  if(DHCP_flag == 1)
			  {
				  vTaskDelete(LinkThrHandle);
				  vTaskDelete(tcpip_threadHandle);
				  vTaskDelete(EthIfHandle);

				  dhcp_release_and_stop(&gnetif);

				  printf("--------------vTaskDelete finish ...\n\n");

				  osDelay(5000);

				  printf("--------------netif_remove start ...\n\n");
				  netif_remove(&gnetif);

				  printf("--------------MX_LWIP_Init_static start ...\n\n");
				  MX_LWIP_Init_static();

				  DHCP_flag = 0;
			  }

			  printf("--------------switch static ip finish ...\n\n");
		  }

		  if(Uart1RxBuf[0] == 't')
		  {
			  printf("--------------netif_remove start ...\n\n");
			  netif_remove(&gnetif);

			  printf("--------------MX_LWIP_Init_static start ...\n\n");
			  MX_LWIP_Init_static();

			  printf("--------------vTaskSuspend finish ...\n\n");
		  }

		  if(Uart1RxBuf[0] == 'r')
		  {
			  //vTaskResume(myTask02Handle);

			  vTaskResume(LinkThrHandle);
			  vTaskResume(tcpip_threadHandle);
			  vTaskResume(EthIfHandle);

			  printf("--------------vTaskResume finish ...\n\n");

		  }
		  //MX_LWIP_Init_DHCP
		  if(Uart1RxBuf[0] == 'd')
		  {
			  if(DHCP_flag == 0)
			  {

				  vTaskDelete(LinkThrHandle);
				  vTaskDelete(tcpip_threadHandle);
				  vTaskDelete(EthIfHandle);

				  dhcp_release_and_stop(&gnetif);
				  printf("--------------vTaskDelete finish ...\n\n");

				  osDelay(5000);

				  printf("--------------DHCP begin ...\n\n");
				  netif_remove(&gnetif);
				  printf("--------------netif_remove finish ...\n\n");
				  MX_LWIP_Init();

				  printf("--------------MX_LWIP_Init_DHCP finish ...\n\n");

				  DHCP_flag = 1;
			  }

			  printf("--------------switch DHCP finish ...\n\n");
		  }

		  if(Uart1RxBuf[0] == '0')
		  {
			  printf("----------tcp_client_write begin ...\n\n");
			  //tcp_client_write((const)Uart1RxBuf, uart1_it);

			  tcp_client_send_data(Uart1RxBuf, uart1_it);
		  }

		  printf("StartUart1Task--------finish------\n\n");
		  memset((char*)Uart1RxBuf, 0, RXBUFMAX);
		  uart1_it = 0;

	  }

    osDelay(20);
  }
}

void print_Task(void *parg)
{

	while(1)
	{
		printf("print_Task-----\n\n");

		osDelay(2000);
	}

}

/* USER CODE END Application */

/************************ (C) COPYRIGHT STMicroelectronics *****END OF FILE****/
